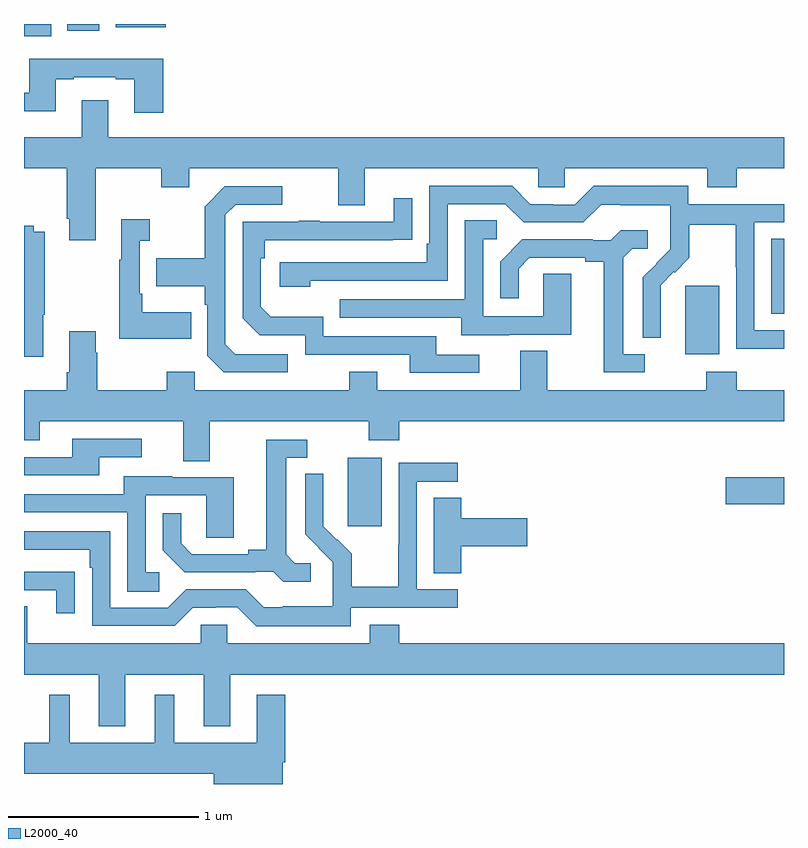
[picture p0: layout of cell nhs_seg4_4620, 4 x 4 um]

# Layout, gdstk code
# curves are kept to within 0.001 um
import gdstk
lib = gdstk.Library(unit=1e-6, precision=1e-09)
def R(c, l, rs):  # rectangles x0, y0, x1, y1
    for r in rs: c.add(gdstk.rectangle(r[:2], r[2:], *l))
def P(c, l, *ps):  # polygons
    for p in ps: c.add(gdstk.Polygon(p, *l))
L2000_40 = (2000, 40)

nhs_seg4_4620 = lib.new_cell('nhs_seg4_4620')
R(nhs_seg4_4620, L2000_40, [(360.704,808.257,360.883,808.618), (362.694,808.373,363,808.515), (362.48,809.162,362.659,809.523), (362.933,809.374,363,809.771), (359,810.836,359.143,810.9), (359.228,810.864,359.395,810.9), (359.483,810.884,359.747,810.9)])
P(nhs_seg4_4620, L2000_40, [(359.732,810.718),(359.027,810.718),(359.027,810.537),(359,810.537),(359,810.44),(359.167,810.44),(359.167,810.609),(359.263,810.609),(359.263,810.621),(359.483,810.621),(359.483,810.609),(359.579,810.609),(359.579,810.432),(359.732,810.432)],
  [(359.377,810.14),(359.722,810.14),(359.722,810.041),(359.869,810.041),(359.869,810.14),(360.653,810.14),(360.653,809.946),(360.793,809.946),(360.793,810.14),(361.707,810.14),(361.707,810.042),(361.845,810.042),(361.845,810.14),(362.597,810.14),(362.597,810.041),(362.75,810.041),(362.75,810.14),(363,810.14),(363,810.304),(359.443,810.304),(359.443,810.499),(359.303,810.499),(359.303,810.304),(359,810.304),(359,810.14),(359.225,810.14),(359.225,809.875),(359.237,809.875),(359.237,809.763),(359.377,809.763)],
  [(363,809.289),(362.844,809.289),(362.844,809.856),(363,809.856),(363,809.952),(362.496,809.952),(362.496,810.049),(361.999,810.049),(361.899,809.949),(361.784,809.949),(361.784,809.952),(361.665,809.952),(361.569,810.048),(361.134,810.048),(361.134,809.743),(361.121,809.743),(361.121,809.646),(360.345,809.646),(360.345,809.516),(360.506,809.516),(360.506,809.55),(361.23,809.55),(361.23,809.952),(361.533,809.952),(361.629,809.856),(361.944,809.856),(362.037,809.949),(362.137,809.949),(362.137,809.945),(362.4,809.945),(362.4,809.811),(362.402,809.811),(362.402,809.714),(362.256,809.566),(362.256,809.248),(362.352,809.248),(362.351,809.525),(362.421,809.595),(362.424,809.592),(362.501,809.669),(362.501,809.844),(362.746,809.844),(362.746,809.62),(362.748,809.62),(362.748,809.191),(363,809.191)],
  [(360.388,809.163),(360.111,809.163),(360.06,809.214),(360.06,809.895),(360.114,809.949),(360.358,809.949),(360.358,810.045),(360.057,810.045),(359.952,809.939),(359.952,809.667),(359.695,809.667),(359.695,809.519),(359.952,809.519),(359.952,809.423),(359.964,809.423),(359.964,809.154),(360.051,809.067),(360.388,809.067)],
  [(361.396,809.16),(361.171,809.16),(361.171,809.256),(360.576,809.256),(360.576,809.359),(360.299,809.359),(360.246,809.412),(360.246,809.666),(360.266,809.666),(360.266,809.763),(361.043,809.764),(361.043,809.983),(360.947,809.983),(360.947,809.859),(360.557,809.859),(360.557,809.864),(360.445,809.864),(360.445,809.859),(360.15,809.859),(360.15,809.352),(360.24,809.262),(360.48,809.262),(360.48,809.16),(361.031,809.16),(361.031,809.064),(361.396,809.064)],
  [(359.879,809.383),(359.623,809.383),(359.623,809.479),(359.61,809.479),(359.61,809.759),(359.662,809.759),(359.662,809.872),(359.513,809.872),(359.513,809.659),(359.502,809.659),(359.502,809.243),(359.879,809.243)],
  [(361.555,809.265),(361.879,809.265),(361.879,809.585),(361.734,809.585),(361.734,809.361),(361.416,809.361),(361.416,809.766),(361.489,809.766),(361.489,809.867),(361.32,809.867),(361.32,809.451),(360.661,809.451),(360.661,809.355),(361.301,809.355),(361.301,809.261),(361.555,809.261)],
  [(359.101,809.371),(359.109,809.371),(359.109,809.806),(359.052,809.806),(359.052,809.839),(359,809.839),(359,809.148),(359.101,809.148)],
  [(362.266,809.163),(362.155,809.163),(362.155,809.671),(362.202,809.718),(362.284,809.718),(362.284,809.815),(362.14,809.815),(362.088,809.763),(361.994,809.763),(361.994,809.766),(361.622,809.766),(361.506,809.65),(361.506,809.457),(361.603,809.457),(361.603,809.613),(361.66,809.67),(361.955,809.67),(361.955,809.648),(362.051,809.648),(362.051,809.067),(362.266,809.067)],
  [(359.977,808.808),(360.814,808.808),(360.814,808.709),(360.974,808.709),(360.974,808.808),(363,808.808),(363,808.972),(362.75,808.972),(362.75,809.071),(362.59,809.071),(362.59,808.972),(361.753,808.972),(361.753,809.18),(361.613,809.18),(361.613,808.972),(360.859,808.972),(360.859,809.071),(360.712,809.071),(360.712,808.972),(359.898,808.972),(359.898,809.071),(359.752,809.071),(359.752,808.972),(359.385,808.972),(359.385,809.171),(359.377,809.171),(359.377,809.284),(359.237,809.284),(359.237,809.068),(359.225,809.068),(359.225,808.972),(359,808.972),(359,808.709),(359.083,808.709),(359.083,808.808),(359.837,808.808),(359.837,808.6),(359.977,808.6)],
  [(359.395,808.62),(359.62,808.62),(359.62,808.716),(359.255,808.716),(359.255,808.62),(359,808.62),(359,808.524),(359.395,808.524)],
  [(360.508,808.062),(360.426,808.062),(360.379,808.109),(360.379,808.617),(360.49,808.617),(360.49,808.713),(360.275,808.713),(360.275,808.133),(360.179,808.133),(360.179,808.11),(359.884,808.11),(359.827,808.167),(359.827,808.324),(359.73,808.324),(359.73,808.13),(359.846,808.014),(360.218,808.014),(360.218,808.017),(360.312,808.017),(360.364,807.965),(360.508,807.965)],
  [(360.72,807.828),(361.282,807.828),(361.282,807.924),(361.068,807.924),(361.068,808.491),(361.282,808.491),(361.282,808.59),(360.972,808.59),(360.972,808.16),(360.97,808.16),(360.97,807.937),(360.725,807.937),(360.725,808.111),(360.648,808.188),(360.645,808.185),(360.575,808.256),(360.576,808.532),(360.48,808.532),(360.48,808.214),(360.626,808.066),(360.626,807.969),(360.624,807.969),(360.624,807.835),(360.361,807.835),(360.361,807.831),(360.261,807.831),(360.168,807.924),(359.853,807.924),(359.757,807.828),(359.454,807.828),(359.454,808.23),(359,808.23),(359,808.134),(359.345,808.134),(359.345,808.037),(359.358,808.037),(359.358,807.732),(359.793,807.732),(359.889,807.828),(360.008,807.828),(360.008,807.831),(360.123,807.831),(360.223,807.731),(360.72,807.731)],
  [(359.713,808.014),(359.64,808.014),(359.64,808.419),(359.958,808.419),(359.958,808.195),(360.103,808.195),(360.103,808.515),(359.779,808.515),(359.779,808.519),(359.525,808.519),(359.525,808.425),(359,808.425),(359,808.329),(359.544,808.329),(359.544,807.913),(359.713,807.913)],
  [(361.301,808.151),(361.648,808.151),(361.648,808.298),(361.301,808.298),(361.301,808.406),(361.157,808.406),(361.157,808.009),(361.301,808.009)],
  [(359.267,808.016),(359.165,808.016),(359.165,808.017),(359,808.017),(359,807.921),(359.171,807.921),(359.171,807.798),(359.267,807.798)],
  [(359.533,807.476),(359.945,807.476),(359.945,807.203),(360.085,807.203),(360.085,807.476),(363,807.476),(363,807.64),(360.974,807.64),(360.974,807.739),(360.821,807.739),(360.821,807.64),(360.069,807.64),(360.069,807.738),(359.931,807.738),(359.931,807.64),(359.017,807.64),(359.017,807.835),(359,807.835),(359,807.476),(359.393,807.476),(359.393,807.203),(359.533,807.203)],
  [(360.361,807.014),(360.374,807.014),(360.374,807.37),(360.224,807.37),(360.224,807.118),(359.791,807.118),(359.791,807.37),(359.687,807.37),(359.687,807.118),(359.242,807.118),(359.242,807.37),(359.132,807.37),(359.132,807.118),(359,807.118),(359,806.954),(359.999,806.954),(359.999,806.9),(360.361,806.9)])

lib.write_gds('nhs_seg4_4620.gds')
